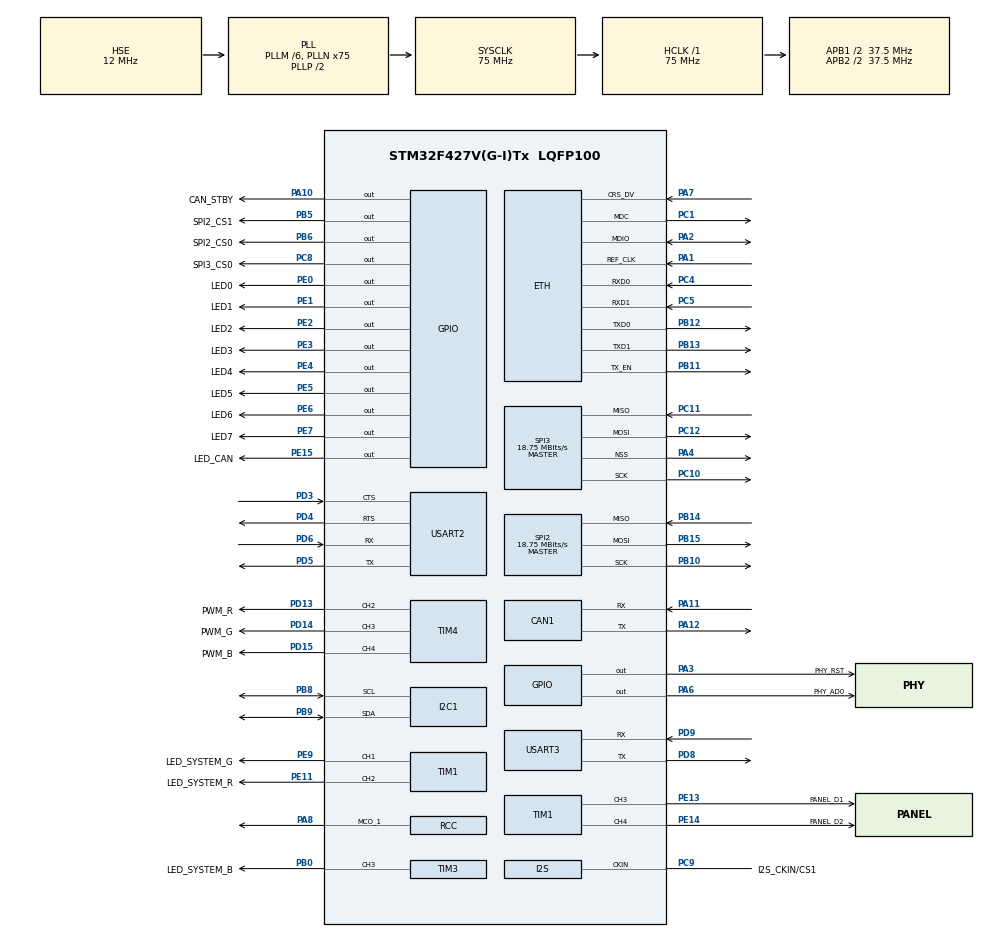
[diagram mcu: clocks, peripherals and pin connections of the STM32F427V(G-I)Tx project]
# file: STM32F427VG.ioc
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CAN1.BS1=CAN_BS1_1TQ
CAN1.BS2=CAN_BS2_1TQ
CAN1.CalculateTimeQuantum=426.6666666666667
ETH.ChecksumMode=ETH_CHECKSUM_BY_SOFTWARE
ETH.MediaInterface=ETH_MEDIA_INTERFACE_RMII
ETH.PhyAddress=0
LWIP.CHECKSUM_BY_HARDWARE=0
LWIP.CHECKSUM_GEN_ICMP=1
LWIP.CHECKSUM_GEN_ICMP6=1
LWIP.CHECKSUM_GEN_IP=1
LWIP.CHECKSUM_GEN_TCP=1
LWIP.CHECKSUM_GEN_UDP=1
LWIP.GATEWAY_ADDRESS=192.168.010.001
LWIP.IP_ADDRESS=192.168.010.239
LWIP.LWIP_CHECKSUM_CTRL_PER_NETIF=1
LWIP.LWIP_DHCP=0
LWIP.LWIP_NETIF_LINK_CALLBACK=1
LWIP.LWIP_NETIF_STATUS_CALLBACK=1
LWIP.NETMASK_ADDRESS=255.255.255.000
LWIP.Version=v2.0.3_Cube
Mcu.Family=STM32F4
Mcu.Name=STM32F427V(G-I)Tx
Mcu.Package=LQFP100
Mcu.UserConstants=PWM_TIMER_RELOAD,10000;PWM_TIMER_PRESCALER,3
NVIC.PriorityGroup=NVIC_PRIORITYGROUP_4
PA1.Mode=RMII
PA1.Signal=ETH_REF_CLK
PA10.GPIO_Label=CAN_STBY
PA10.Signal=GPIO_Output
PA11.Mode=Master
PA11.Signal=CAN1_RX
PA12.Mode=Master
PA12.Signal=CAN1_TX
PA13.Mode=JTAG_5_pins
PA13.Signal=SYS_JTMS-SWDIO
PA14.Mode=JTAG_5_pins
PA14.Signal=SYS_JTCK-SWCLK
PA15.Mode=JTAG_5_pins
PA15.Signal=SYS_JTDI
PA2.Mode=RMII
PA2.Signal=ETH_MDIO
PA3.GPIO_Label=PHY_RST
PA3.GPIO_ModeDefaultOutputPP=GPIO_MODE_OUTPUT_OD
PA3.GPIO_Speed=GPIO_SPEED_FREQ_LOW
PA3.PinState=GPIO_PIN_SET
PA3.Signal=GPIO_Output
PA4.Mode=NSS_Signal_Hard_Output
PA4.Signal=SPI3_NSS
PA6.GPIO_Label=PHY_AD0
PA6.Signal=GPIO_Output
PA7.Mode=RMII
PA7.Signal=ETH_CRS_DV
PA8.GPIO_Speed=GPIO_SPEED_FREQ_HIGH
PA8.Mode=Clock-out-1
PA8.Signal=RCC_MCO_1
PB0.GPIO_Label=LED_SYSTEM_B
PB0.Signal=S_TIM3_CH3
PB10.Mode=Full_Duplex_Master
PB10.Signal=SPI2_SCK
PB11.Mode=RMII
PB11.Signal=ETH_TX_EN
PB12.Mode=RMII
PB12.Signal=ETH_TXD0
PB13.Mode=RMII
PB13.Signal=ETH_TXD1
PB14.Mode=Full_Duplex_Master
PB14.Signal=SPI2_MISO
PB15.Mode=Full_Duplex_Master
PB15.Signal=SPI2_MOSI
PB3.Mode=JTAG_5_pins
PB3.Signal=SYS_JTDO-SWO
PB4.Mode=JTAG_5_pins
PB4.Signal=SYS_JTRST
PB5.GPIO_Label=SPI2_CS1
PB5.GPIO_Speed=GPIO_SPEED_FREQ_HIGH
PB5.PinState=GPIO_PIN_SET
PB5.Signal=GPIO_Output
PB6.GPIO_Label=SPI2_CS0
PB6.GPIO_Speed=GPIO_SPEED_FREQ_HIGH
PB6.PinState=GPIO_PIN_SET
PB6.Signal=GPIO_Output
PB8.Mode=I2C
PB8.Signal=I2C1_SCL
PB9.Mode=I2C
PB9.Signal=I2C1_SDA
PC1.Mode=RMII
PC1.Signal=ETH_MDC
PC10.Mode=Full_Duplex_Master
PC10.Signal=SPI3_SCK
PC11.Mode=Full_Duplex_Master
PC11.Signal=SPI3_MISO
PC12.Mode=Full_Duplex_Master
PC12.Signal=SPI3_MOSI
PC4.Mode=RMII
PC4.Signal=ETH_RXD0
PC5.Mode=RMII
PC5.Signal=ETH_RXD1
PC8.GPIO_Label=SPI3_CS0
PC8.GPIO_Speed=GPIO_SPEED_FREQ_HIGH
PC8.PinState=GPIO_PIN_SET
PC8.Signal=GPIO_Output
PC9.GPIO_Label=I2S_CKIN/CS1
PC9.Mode=Audio_ClockIn
PC9.Signal=I2S_CKIN
PD13.GPIO_Label=PWM_R
PD13.Signal=S_TIM4_CH2
PD14.GPIO_Label=PWM_G
PD14.Signal=S_TIM4_CH3
PD15.GPIO_Label=PWM_B
PD15.Signal=S_TIM4_CH4
PD3.Mode=CTS_RTS
PD3.Signal=USART2_CTS
PD4.Mode=CTS_RTS
PD4.Signal=USART2_RTS
PD5.Mode=Asynchronous
PD5.Signal=USART2_TX
PD6.Mode=Asynchronous
PD6.Signal=USART2_RX
PD8.Mode=Asynchronous
PD8.Signal=USART3_TX
PD9.Mode=Asynchronous
PD9.Signal=USART3_RX
PE0.GPIO_Label=LED0
PE0.Signal=GPIO_Output
PE1.GPIO_Label=LED1
PE1.Signal=GPIO_Output
PE11.GPIO_Label=LED_SYSTEM_R
PE11.Signal=S_TIM1_CH2
PE13.GPIO_Label=PANEL_D1
PE13.Signal=S_TIM1_CH3
PE14.GPIO_Label=PANEL_D2
PE14.Signal=S_TIM1_CH4
PE15.GPIO_Label=LED_CAN
PE15.Signal=GPIO_Output
PE2.GPIO_Label=LED2
PE2.Signal=GPIO_Output
PE3.GPIO_Label=LED3
PE3.Signal=GPIO_Output
PE4.GPIO_Label=LED4
PE4.Signal=GPIO_Output
PE5.GPIO_Label=LED5
PE5.Signal=GPIO_Output
PE6.GPIO_Label=LED6
PE6.Signal=GPIO_Output
PE7.GPIO_Label=LED7
PE7.Signal=GPIO_Output
PE9.GPIO_Label=LED_SYSTEM_G
PE9.Signal=S_TIM1_CH1
PH0/OSC_IN.Mode=HSE-External-Oscillator
PH0/OSC_IN.Signal=RCC_OSC_IN
PH1/OSC_OUT.Mode=HSE-External-Oscillator
PH1/OSC_OUT.Signal=RCC_OSC_OUT
ProjectManager.HeapSize=0x200
ProjectManager.StackSize=0x400
ProjectManager.TargetToolchain=Makefile
RCC.48MHZClocksFreq_Value=37500000
RCC.AHBFreq_Value=75000000
RCC.APB1CLKDivider=RCC_HCLK_DIV2
RCC.APB1Freq_Value=37500000
RCC.APB1TimFreq_Value=75000000
RCC.APB2CLKDivider=RCC_HCLK_DIV2
RCC.APB2Freq_Value=37500000
RCC.APB2TimFreq_Value=75000000
RCC.CortexFreq_Value=75000000
RCC.HCLKFreq_Value=75000000
RCC.HSE_Timout=500
RCC.HSE_VALUE=12000000
RCC.HSI_VALUE=16000000
RCC.LSE_VALUE=32768
RCC.PLLM=6
RCC.PLLN=75
RCC.PLLSourceVirtual=RCC_PLLSOURCE_HSE
RCC.RCC_MCO1Source=RCC_MCO1SOURCE_PLLCLK
RCC.RCC_MCODiv1=RCC_MCODIV_3
RCC.SYSCLKFreq_VALUE=75000000
RCC.SYSCLKSource=RCC_SYSCLKSOURCE_PLLCLK
RCC.VCOOutputFreq_Value=150000000
SH.S_TIM1_CH1.0=TIM1_CH1,PWM Generation1 CH1
SH.S_TIM1_CH2.0=TIM1_CH2,PWM Generation2 CH2
SH.S_TIM1_CH3.0=TIM1_CH3,PWM Generation3 CH3
SH.S_TIM1_CH4.0=TIM1_CH4,PWM Generation4 CH4
SH.S_TIM3_CH3.0=TIM3_CH3,PWM Generation3 CH3
SH.S_TIM4_CH2.0=TIM4_CH2,PWM Generation2 CH2
SH.S_TIM4_CH3.0=TIM4_CH3,PWM Generation3 CH3
SH.S_TIM4_CH4.0=TIM4_CH4,PWM Generation4 CH4
SPI2.BaudRatePrescaler=SPI_BAUDRATEPRESCALER_2
SPI2.CalculateBaudRate=18.75 MBits/s
SPI2.Direction=SPI_DIRECTION_2LINES
SPI2.Mode=SPI_MODE_MASTER
SPI2.VirtualType=VM_MASTER
SPI3.BaudRatePrescaler=SPI_BAUDRATEPRESCALER_2
SPI3.CalculateBaudRate=18.75 MBits/s
SPI3.Direction=SPI_DIRECTION_2LINES
SPI3.Mode=SPI_MODE_MASTER
SPI3.VirtualNSS=VM_NSSHARD
SPI3.VirtualType=VM_MASTER
TIM1.Channel-PWM\ Generation1\ CH1=TIM_CHANNEL_1
TIM1.Channel-PWM\ Generation2\ CH2=TIM_CHANNEL_2
TIM1.Channel-PWM\ Generation3\ CH3=TIM_CHANNEL_3
TIM1.Channel-PWM\ Generation4\ CH4=TIM_CHANNEL_4
TIM1.ClockDivision=TIM_CLOCKDIVISION_DIV4
TIM1.CounterMode=TIM_COUNTERMODE_CENTERALIGNED1
TIM1.OCFastMode_PWM-PWM\ Generation1\ CH1=TIM_OCFAST_ENABLE
TIM1.OCFastMode_PWM-PWM\ Generation2\ CH2=TIM_OCFAST_ENABLE
TIM1.OCFastMode_PWM-PWM\ Generation3\ CH3=TIM_OCFAST_ENABLE
TIM1.OCFastMode_PWM-PWM\ Generation4\ CH4=TIM_OCFAST_ENABLE
TIM1.OCPolarity_4=TIM_OCPOLARITY_LOW
TIM1.Period=PWM_TIMER_RELOAD
TIM1.Prescaler=PWM_TIMER_PRESCALER
TIM3.Channel-PWM\ Generation3\ CH3=TIM_CHANNEL_3
TIM3.CounterMode=TIM_COUNTERMODE_CENTERALIGNED1
TIM3.OCFastMode_PWM-PWM\ Generation3\ CH3=TIM_OCFAST_ENABLE
TIM3.Period=PWM_TIMER_RELOAD
TIM3.Prescaler=PWM_TIMER_PRESCALER
TIM4.Channel-PWM\ Generation2\ CH2=TIM_CHANNEL_2
TIM4.Channel-PWM\ Generation3\ CH3=TIM_CHANNEL_3
TIM4.Channel-PWM\ Generation4\ CH4=TIM_CHANNEL_4
TIM4.CounterMode=TIM_COUNTERMODE_CENTERALIGNED1
TIM4.OCFastMode_PWM-PWM\ Generation2\ CH2=TIM_OCFAST_ENABLE
TIM4.OCFastMode_PWM-PWM\ Generation3\ CH3=TIM_OCFAST_ENABLE
TIM4.OCFastMode_PWM-PWM\ Generation4\ CH4=TIM_OCFAST_ENABLE
TIM4.Period=PWM_TIMER_RELOAD
TIM4.Prescaler=PWM_TIMER_PRESCALER
USART2.VirtualMode=VM_ASYNC
USART3.VirtualMode=VM_ASYNC
VP_LWIP_VS_Enabled.Mode=Enabled
VP_TIM1_VS_ClockSourceINT.Mode=Internal
VP_TIM3_VS_ClockSourceINT.Mode=Internal
VP_TIM4_VS_ClockSourceINT.Mode=Internal
board=custom

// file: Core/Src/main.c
/**
  ******************************************************************************
  * @file           : main.c
  * @brief          : Main program body
  ******************************************************************************
  * This notice applies to any and all portions of this file
  * that are not between comment pairs USER CODE BEGIN and
  * USER CODE END. Other portions of this file, whether
  * inserted by the user or by software development tools
  * are owned by their respective copyright owners.
  *
  * Copyright (c) 2019 STMicroelectronics International N.V.
  * All rights reserved.
  *
  * Redistribution and use in source and binary forms, with or without
  * modification, are permitted, provided that the following conditions are met:
  *
  * 1. Redistribution of source code must retain the above copyright notice,
  *    this list of conditions and the following disclaimer.
  * 2. Redistributions in binary form must reproduce the above copyright notice,
  *    this list of conditions and the following disclaimer in the documentation
  *    and/or other materials provided with the distribution.
  * 3. Neither the name of STMicroelectronics nor the names of other
  *    contributors to this software may be used to endorse or promote products
  *    derived from this software without specific written permission.
  * 4. This software, including modifications and/or derivative works of this
  *    software, must execute solely and exclusively on microcontroller or
  *    microprocessor devices manufactured by or for STMicroelectronics.
  * 5. Redistribution and use of this software other than as permitted under
  *    this license is void and will automatically terminate your rights under
  *    this license.
  *
  * THIS SOFTWARE IS PROVIDED BY STMICROELECTRONICS AND CONTRIBUTORS "AS IS"
  * AND ANY EXPRESS, IMPLIED OR STATUTORY WARRANTIES, INCLUDING, BUT NOT
  * LIMITED TO, THE IMPLIED WARRANTIES OF MERCHANTABILITY, FITNESS FOR A
  * PARTICULAR PURPOSE AND NON-INFRINGEMENT OF THIRD PARTY INTELLECTUAL PROPERTY
  * RIGHTS ARE DISCLAIMED TO THE FULLEST EXTENT PERMITTED BY LAW. IN NO EVENT
  * SHALL STMICROELECTRONICS OR CONTRIBUTORS BE LIABLE FOR ANY DIRECT, INDIRECT,
  * INCIDENTAL, SPECIAL, EXEMPLARY, OR CONSEQUENTIAL DAMAGES (INCLUDING, BUT NOT
  * LIMITED TO, PROCUREMENT OF SUBSTITUTE GOODS OR SERVICES; LOSS OF USE, DATA,
  * OR PROFITS; OR BUSINESS INTERRUPTION) HOWEVER CAUSED AND ON ANY THEORY OF
  * LIABILITY, WHETHER IN CONTRACT, STRICT LIABILITY, OR TORT (INCLUDING
  * NEGLIGENCE OR OTHERWISE) ARISING IN ANY WAY OUT OF THE USE OF THIS SOFTWARE,
  * EVEN IF ADVISED OF THE POSSIBILITY OF SUCH DAMAGE.
  *
  ******************************************************************************
  */
#include "main.h"
#include "stm32f4xx_hal.h"
#include "lwip.h"

/* USER CODE BEGIN Includes */
#include <math.h>
/* USER CODE END Includes */

CAN_HandleTypeDef hcan1;

I2C_HandleTypeDef hi2c1;

SPI_HandleTypeDef hspi2;
SPI_HandleTypeDef hspi3;

TIM_HandleTypeDef htim1;
TIM_HandleTypeDef htim3;
TIM_HandleTypeDef htim4;

UART_HandleTypeDef huart2;
UART_HandleTypeDef huart3;

/* USER CODE BEGIN PV */
/* Private variables ---------------------------------------------------------*/

typedef struct RGB_DUTY_RAW {
	uint16_t r, g, b;
} RGB_DUTY_RAW;

typedef struct PANEL_DUTY_RAW {
	uint16_t p1, p2;
} PANEL_DUTY_RAW;

static volatile RGB_DUTY_RAW syst_led_pwm; // PWM values for the onboard LED (duty cycle rel. to PWM_TIMER_RELOAD)
static volatile RGB_DUTY_RAW ext_led_pwm;  // PWM values for three external LED channels (duty cycle rel. to PWM_TIMER_RELOAD)
static volatile PANEL_DUTY_RAW panel_pwm;  // PWM values for two onboard CC drivers (duty cycle rel. to PWM_TIMER_RELOAD)
/* USER CODE END PV */

void SystemClock_Config(void);
static void MX_GPIO_Init(void);
static void MX_CAN1_Init(void);
static void MX_I2C1_Init(void);
static void MX_SPI2_Init(void);
static void MX_SPI3_Init(void);
static void MX_TIM1_Init(void);
static void MX_TIM3_Init(void);
static void MX_TIM4_Init(void);
static void MX_USART2_UART_Init(void);
static void MX_USART3_UART_Init(void);

void HAL_TIM_MspPostInit(TIM_HandleTypeDef *htim);

/* USER CODE BEGIN PFP */
/* Private function prototypes -----------------------------------------------*/

void update_syst_pwm(void);
void update_ext_pwm(void);
void update_panel_pwm(void);

// --- crusty HSV/RGB stuff ahead.
typedef struct RgbColor {
    unsigned char r;
    unsigned char g;
    unsigned char b;
} RgbColor;

typedef struct HsvColor {
    unsigned char h;
    unsigned char s;
    unsigned char v;
} HsvColor;

RgbColor HsvToRgb(HsvColor hsv) {
    RgbColor rgb;
    unsigned char region, remainder, p, q, t;

    if (hsv.s == 0) {
        rgb.r = hsv.v;
        rgb.g = hsv.v;
        rgb.b = hsv.v;
        return rgb;
    }

    region = hsv.h / 43;
    remainder = (hsv.h - (region * 43)) * 6;

    p = (hsv.v * (255 - hsv.s)) >> 8;
    q = (hsv.v * (255 - ((hsv.s * remainder) >> 8))) >> 8;
    t = (hsv.v * (255 - ((hsv.s * (255 - remainder)) >> 8))) >> 8;

    switch (region) {
        case 0:
            rgb.r = hsv.v; rgb.g = t; rgb.b = p;
            break;
        case 1:
            rgb.r = q; rgb.g = hsv.v; rgb.b = p;
            break;
        case 2:
            rgb.r = p; rgb.g = hsv.v; rgb.b = t;
            break;
        case 3:
            rgb.r = p; rgb.g = q; rgb.b = hsv.v;
            break;
        case 4:
            rgb.r = t; rgb.g = p; rgb.b = hsv.v;
            break;
        default:
            rgb.r = hsv.v; rgb.g = p; rgb.b = q;
            break;
    }

    return rgb;
}

HsvColor RgbToHsv(RgbColor rgb) {
    HsvColor hsv;
    unsigned char rgbMin, rgbMax;

    rgbMin = rgb.r < rgb.g ? (rgb.r < rgb.b ? rgb.r : rgb.b) : (rgb.g < rgb.b ? rgb.g : rgb.b);
    rgbMax = rgb.r > rgb.g ? (rgb.r > rgb.b ? rgb.r : rgb.b) : (rgb.g > rgb.b ? rgb.g : rgb.b);

    hsv.v = rgbMax;
    if (hsv.v == 0) {
        hsv.h = 0;
        hsv.s = 0;
        return hsv;
    }

    hsv.s = 255 * ((long) rgbMax - (long) rgbMin) / hsv.v;
    if (hsv.s == 0) {
        hsv.h = 0;
        return hsv;
    }

    if (rgbMax == rgb.r) {  hsv.h = 0 + 43 * (rgb.g - rgb.b) / (rgbMax - rgbMin); }
    else if (rgbMax == rgb.g) { hsv.h = 85 + 43 * (rgb.b - rgb.r) / (rgbMax - rgbMin); }
    else { hsv.h = 171 + 43 * (rgb.r - rgb.g) / (rgbMax - rgbMin); }

    return hsv;
}

static HsvColor LedHsv;
static RgbColor LedRgb;
// --- end of crusty HSV/RGB stuff

//void HAL_TIM_PeriodElapsedCallback(TIM_HandleTypeDef *htim) {
   /*  if (htim->Instance == TIM5)
    {
        count2++;
    } */

	// The duty cycle value is a percentage of the reload register value (ARR). Rounding is used.
	/* if (pwm0 > 100.0F) { pwm0 = 0.0F; }
	float DC = pwm0;
	pwm0 += 0.5F; */

    //uint32_t newRegVal = (uint32_t) roundf((float)(htim1.Instance->ARR) * (DC * 0.01F));

    //In case of the DC being calculated as higher than the reload register, cap it to the reload register*/
    /* if (newRegVal > htim1.Instance->ARR){
        newRegVal = htim1.Instance->ARR;
    } */

    ///Assign the new DC count to the capture compare register.
     //htim1.Instance->CCR3 = (uint32_t)(roundf(newRegVal));  /*Change CCR1 to appropriate channel, or pass it in with function.*/
//}

/* USER CODE END PFP */

/* USER CODE BEGIN 0 */

inline void update_syst_pwm(void) {
	/* LED_SYSTEM_R, LED_SYSTEM_G, LED_SYSTEM_B:
		the PWM signals for the external three LED channels are mapped to TIM1 and TIM3 channels due to
		peripheral mapping and routing constraints.
		TIM1 and TIM3 output polarities are normal, duty cycle is 100% * TIMn->CCRn / TIMn->ARR.
	*/
	__HAL_TIM_SET_COMPARE(&htim1, TIM_CHANNEL_2, syst_led_pwm.r);
	__HAL_TIM_SET_COMPARE(&htim1, TIM_CHANNEL_1, syst_led_pwm.g);
	// note the B channel is driven by TIM3. It also needs to be configured to use the same counting mode.
	__HAL_TIM_SET_COMPARE(&htim3, TIM_CHANNEL_3, syst_led_pwm.b);
}

inline void update_ext_pwm(void) {
	/* PWM_R, PWM_G, PWM_B:
		the PWM signals for the external three LED channels are mapped to TIM4 channels 2, 3 and 4.
		TIM4 output polarity is normal, duty cycle is 100% * TIM4->CCRn / TIM4->ARR.
	*/
	__HAL_TIM_SET_COMPARE(&htim4, TIM_CHANNEL_2, ext_led_pwm.r);
	__HAL_TIM_SET_COMPARE(&htim4, TIM_CHANNEL_3, ext_led_pwm.g);
	__HAL_TIM_SET_COMPARE(&htim4, TIM_CHANNEL_4, ext_led_pwm.b);
}

inline void update_panel_pwm(void) {
	/* Panel_D1:
		TIM_CHANNEL_3 output polarity is normal, duty cycle is 100% * TIM1->CCR3 / TIM1->ARR.
	*/
	__HAL_TIM_SET_COMPARE(&htim1, TIM_CHANNEL_3, panel_pwm.p1);
	/* Panel_D2:
		TIM_CHANNEL_4 output polarity is inverted (TIM1_OCPOLARITY_LOW) and the duty cycle is made complementary.
		Combined with TIM_OCPOLARITY_LOW, the two channels (CH3 and CH4) produce 180° interleaved PWM
		to minimize primary-side current ripple and audible noise.
	*/
	__HAL_TIM_SET_COMPARE(&htim1, TIM_CHANNEL_4, TIM1->ARR - panel_pwm.p2);
}

// --- MQTT begins here ---
#include <string.h>
#include "mqtt.h"

#define MQTT_HOST_0 10
#define MQTT_HOST_1 214
#define MQTT_HOST_2 227
#define MQTT_HOST_3 218
//#define MQTT_HOST "vielseitigkeit.club.entropia.de"
//#define MQTT_HOST "localhost"
#define MQTT_PORT 1883
#define MQTT_USERNAME "user"
#define MQTT_KEY "pass"

mqtt_client_t static_client;
int16_t RgbToPwm = PWM_TIMER_RELOAD / 360; // Limit the max brightness/current this way.

void mqtt_do_connect(mqtt_client_t *client);

// --- Callbacks ---
//

static int inpub_id;
static void mqtt_incoming_publish_cb(void *arg, const char *topic, u32_t tot_len) {
	printf("Incoming publish at topic %s with total length %u\n", topic, (unsigned int)tot_len);

	/* Decode topic string into a user defined reference */
	if(strcmp(topic, "/plants/rgb") == 0) {
		inpub_id = 0;
	}
	else if (strcmp(topic, "/plants/panels") == 0) {
		inpub_id = 1;
	}
	else {
		/* For all other topics */
		inpub_id = 2;
	}
}

static void mqtt_sub_request_cb(void *arg, err_t result) {
	  /* Just print the result code here for simplicity,
		 normal behaviour would be to take some action if subscribe fails like
		 notifying user, retry subscribe or disconnect from server */
	  printf("Subscribe result: %d\n", result);
}

static void mqtt_request_cb(void *arg, err_t result) {
	//
}

static void mqtt_incoming_data_cb(void *arg, const u8_t *data, u16_t len, u8_t flags) {
	printf("Incoming publish payload with length %d, flags %u\n", len, (unsigned int)flags);
	//mqtt_publish(&static_client, "/plants/debug", "Red adjusted.", 12, 0, 0, mqtt_request_cb, 0);

	if (flags & MQTT_DATA_FLAG_LAST) {
		/* Last fragment of payload received (or whole part if payload fits receive buffer
		See MQTT_VAR_HEADER_BUFFER_LEN)  */

		/* Call function or do action depending on reference, in this case inpub_id */
		if (inpub_id == 0) { // /plants/rgb
		  /* Don't trust the publisher, check zero termination */
			if (data[len-1] == 0) {
				printf("mqtt_incoming_data_cb: %s\n", (const char *) data);
				//mqtt_publish(&static_client, "/plants/debug", "Red adjusted.", 12, 0, 0, mqtt_request_cb, 0);
			}

			if (len == 2) {
				if ((char) data[0] == 'R') {
					ext_led_pwm.r = (char) data[1];
					ext_led_pwm.r *= 3;
					mqtt_publish(&static_client, "/plants/debug", "Red adjusted.", 12, 0, 0, mqtt_request_cb, 0);
				}
				else if ((char) data[0] == 'G') {
					ext_led_pwm.g = (char) data[1];
					ext_led_pwm.g *= 3;
					mqtt_publish(&static_client, "/plants/debug", "Green adjusted.", 14, 0, 0, mqtt_request_cb, 0);
				}
				else if ((char) data[0] == 'B') {
					ext_led_pwm.b = (char) data[1];
					ext_led_pwm.b *= 3;
					mqtt_publish(&static_client, "/plants/debug", "Blue adjusted.", 13, 0, 0, mqtt_request_cb, 0);
				}

				update_ext_pwm();
			}
			else {
				mqtt_publish(&static_client, "/plants/debug", "No valid RGB command.", 21, 0, 0, mqtt_request_cb, 0);
			}
		}
		else if (inpub_id == 1) { // /plants/panels
			if (len == 2) {
				if ((char) data[0] == 'W') {
					panel_pwm.p1 = (char) data[1];
					panel_pwm.p1 *= 3;
				}
				else if ((char) data[0] == 'Y') {
					panel_pwm.p2 = (char) data[1];
					panel_pwm.p2 *= 3;
				}

				update_panel_pwm();
			}
		}
		else {
			printf("mqtt_incoming_data_cb: Ignoring payload...\n");
		}
	}
	else {
		/* Handle fragmented payload, store in buffer, write to file or whatever */
	}
}

static void mqtt_connection_cb(mqtt_client_t *client, void *arg, mqtt_connection_status_t status) {
	err_t err;
	if (status == MQTT_CONNECT_ACCEPTED) {
		printf("mqtt_connection_cb: Successfully connected\n");

		/* Setup callback for incoming publish requests */
		mqtt_set_inpub_callback(client, mqtt_incoming_publish_cb, mqtt_incoming_data_cb, arg);

		/* Subscribe to a topic named "subtopic" with QoS level 1, call mqtt_sub_request_cb with result */
		err = mqtt_subscribe(client, "/plants/rgb", 1, mqtt_sub_request_cb, arg);
		err = mqtt_subscribe(client, "/plants/panels", 1, mqtt_sub_request_cb, arg);

		if (err != ERR_OK) {
			printf("mqtt_subscribe return: %d\n", err);
		}
	}
	else {
		printf("mqtt_connection_cb: Disconnected, reason: %d\n", status);

		/* Its more nice to be connected, so try to reconnect */
		mqtt_do_connect(client);
	}
}
// --- End Callbacks ---

void mqtt_do_connect(mqtt_client_t *client) {
	ip4_addr_t broker_ipaddr;
	struct mqtt_connect_client_info_t ci;
	err_t err;

	/* Setup an empty client info structure */
	memset(&ci, 0, sizeof(ci));

	/* Minimal amount of information required is client identifier, so set it here */
	ci.client_id = "LEDNip-Mark_I";

	IP4_ADDR(&broker_ipaddr, MQTT_HOST_0, MQTT_HOST_1, MQTT_HOST_2, MQTT_HOST_3);

	/* Initiate client and connect to server, if this fails immediately an error code is returned
	 otherwise mqtt_connection_cb will be called with connection result after attempting
	 to establish a connection with the server.
	 For now MQTT version 3.1.1 is always used */
	err = mqtt_client_connect(client, &broker_ipaddr, MQTT_PORT, mqtt_connection_cb, 0, &ci);

	/* For now just print the result code if something goes wrong */
	if(err != ERR_OK) {
		printf("mqtt_connect return %d\n", err);
	}
}

/* USER CODE END 0 */

int main(void) {

  /* MCU Configuration----------------------------------------------------------*/

  /* Reset of all peripherals, Initializes the Flash interface and the Systick. */
  HAL_Init();

  /* Configure the system clock */
  SystemClock_Config();

  /* Initialize all configured peripherals */
  MX_GPIO_Init();
  MX_CAN1_Init();
  MX_I2C1_Init();
  MX_SPI2_Init();
  MX_SPI3_Init();
  MX_TIM1_Init();
  MX_TIM3_Init();
  MX_TIM4_Init();
  MX_USART2_UART_Init();
  MX_USART3_UART_Init();
  MX_LWIP_Init();
  /* USER CODE BEGIN 2 */

  // Start all of the PWM channels.
  if (HAL_TIM_PWM_Start(&htim1, TIM_CHANNEL_1) != HAL_OK)   {
    Error_Handler();
  }

  if (HAL_TIM_PWM_Start(&htim1, TIM_CHANNEL_2) != HAL_OK)   {
    Error_Handler();
  }

  if (HAL_TIM_PWM_Start(&htim1, TIM_CHANNEL_3) != HAL_OK)   {
    Error_Handler();
  }

  if (HAL_TIM_PWM_Start(&htim1, TIM_CHANNEL_4) != HAL_OK)   {
    Error_Handler();
  }

  if (HAL_TIM_PWM_Start(&htim3, TIM_CHANNEL_3) != HAL_OK)   {
    Error_Handler();
  }

  if (HAL_TIM_PWM_Start(&htim4, TIM_CHANNEL_2) != HAL_OK)   {
    Error_Handler();
  }

  if (HAL_TIM_PWM_Start(&htim4, TIM_CHANNEL_3) != HAL_OK)   {
    Error_Handler();
  }

  if (HAL_TIM_PWM_Start(&htim4, TIM_CHANNEL_4) != HAL_OK)   {
    Error_Handler();
  }

  // Start timer for the LED update function.
  //TIM2_Init();

  // Compute the prescaler value to have TIM3 counter clock equal to 10 KHz
  //uwPrescalerValue = (uint32_t) ((SystemCoreClock) / 10000) - 1;

  /* Set TIMx instance */
  //htim2.Instance = TIM2;

  /* Initialize TIM2 peripheral as follows:
       + Period = 10000 - 1
       + Prescaler = ((SystemCoreClock/2)/10000) - 1
       + ClockDivision = 0
       + Counter direction = Up
  */
  //htim2.Init.Period = 10000 - 1;
 /*  htim2.Init.Period = 500; // 62499;
  //htim2.Init.Prescaler = uwPrescalerValue;
  htim2.Init.Prescaler = 40000; //((SystemCoreClock/2)/10000) - 1; // 319;
  htim2.Init.ClockDivision = 0;
  htim2.Init.CounterMode = TIM_COUNTERMODE_UP;
  if(HAL_TIM_Base_Init(&htim2) != HAL_OK) {
    Error_Handler();
  } */

  /*##-2- Start the TIM Base generation in interrupt mode ####################*/
  /* Start Channel1 */
  /* if(HAL_TIM_Base_Start_IT(&htim2) != HAL_OK)
  {
    Error_Handler();
  } */

 	/* int16_t pwm_value = 0;
	int16_t step = 5;

	LedHsv.h = 0;
	LedHsv.s = 0xff;
	LedHsv.v = 0xff;
	int16_t HsvStep = 1;
	int16_t HsvStepDelayCounter = 0;
	int8_t HsvStepLinger = 0; */

	// --- MQTT stuff ---
	mqtt_do_connect(&static_client);

  /* USER CODE END 2 */

  /* Infinite loop */
  while (1) {

  /* USER CODE BEGIN 3 */

		MX_LWIP_Process();

		/*Assign the new DC count to the capture compare register.*/

		/* if (pwm_value <= 0) {
			step =  5;
		}
		if (pwm_value >= PWM_TIMER_RELOAD) {
			step = -5;
		}

		pwm_value += step; */

		// brightness ramp demo
		// __HAL_TIM_SET_COMPARE(&htim1, TIM_CHANNEL_3, pwm_value*pwm_value / PWM_TIMER_RELOAD);
		// __HAL_TIM_SET_COMPARE(&htim1, TIM_CHANNEL_4, pwm_value*pwm_value / PWM_TIMER_RELOAD);

		// colour temperature modulation demo
		//__HAL_TIM_SET_COMPARE(&htim1, TIM_CHANNEL_3, pwm_value);
		//__HAL_TIM_SET_COMPARE(&htim1, TIM_CHANNEL_4, PWM_TIMER_RELOAD - (PWM_TIMER_RELOAD - pwm_value)); // CH4 output polarity is inverted in software so it needs the complementary duty cycle value
		/* panel_pwm.p1 = pwm_value;
		panel_pwm.p2 = PWM_TIMER_RELOAD - pwm_value;
		update_panel_pwm(); */

		// Demo: cycle through the RGB colours by mapping from the HSV colour space.
		/* if (HsvStepDelayCounter >= 10) {
			if (LedHsv.h >= 0xff && HsvStepLinger == 0) { HsvStep = -1; HsvStepLinger = 2; }
			else if (LedHsv.h <= 0x00 && HsvStepLinger == 0) { HsvStep = 1; HsvStepLinger = 2; }
			else if (HsvStepLinger == 2) { HsvStepLinger = 1; }
			else {
				LedHsv.h += HsvStep;

				LedRgb = HsvToRgb(LedHsv);
				ext_led_pwm.r = LedRgb.r * RgbToPwm;
				ext_led_pwm.g = LedRgb.g * RgbToPwm;
				ext_led_pwm.b = LedRgb.b * RgbToPwm;
				update_ext_pwm();

				HsvStepLinger = 0;
			}

			HsvStepDelayCounter = 0;
		}
		else {
			HsvStepDelayCounter++;
		} */

		HAL_Delay(1);

		//HAL_GPIO_TogglePin(GPIOE, LED1_Pin);
	}

	mqtt_disconnect(&static_client);
  /* USER CODE END 3 */

}

void SystemClock_Config(void)
{

  RCC_OscInitTypeDef RCC_OscInitStruct;
  RCC_ClkInitTypeDef RCC_ClkInitStruct;

    /**Configure the main internal regulator output voltage
    */
  __HAL_RCC_PWR_CLK_ENABLE();

  __HAL_PWR_VOLTAGESCALING_CONFIG(PWR_REGULATOR_VOLTAGE_SCALE3);

    /**Initializes the CPU, AHB and APB busses clocks
    */
  RCC_OscInitStruct.OscillatorType = RCC_OSCILLATORTYPE_HSE;
  RCC_OscInitStruct.HSEState = RCC_HSE_ON;
  RCC_OscInitStruct.PLL.PLLState = RCC_PLL_ON;
  RCC_OscInitStruct.PLL.PLLSource = RCC_PLLSOURCE_HSE;
  RCC_OscInitStruct.PLL.PLLM = 6;
  RCC_OscInitStruct.PLL.PLLN = 75;
  RCC_OscInitStruct.PLL.PLLP = RCC_PLLP_DIV2;
  RCC_OscInitStruct.PLL.PLLQ = 4;
  if (HAL_RCC_OscConfig(&RCC_OscInitStruct) != HAL_OK)
  {
    _Error_Handler(__FILE__, __LINE__);
  }

    /**Initializes the CPU, AHB and APB busses clocks
    */
  RCC_ClkInitStruct.ClockType = RCC_CLOCKTYPE_HCLK|RCC_CLOCKTYPE_SYSCLK
                              |RCC_CLOCKTYPE_PCLK1|RCC_CLOCKTYPE_PCLK2;
  RCC_ClkInitStruct.SYSCLKSource = RCC_SYSCLKSOURCE_PLLCLK;
  RCC_ClkInitStruct.AHBCLKDivider = RCC_SYSCLK_DIV1;
  RCC_ClkInitStruct.APB1CLKDivider = RCC_HCLK_DIV2;
  RCC_ClkInitStruct.APB2CLKDivider = RCC_HCLK_DIV2;

  if (HAL_RCC_ClockConfig(&RCC_ClkInitStruct, FLASH_LATENCY_2) != HAL_OK)
  {
    _Error_Handler(__FILE__, __LINE__);
  }

  HAL_RCC_MCOConfig(RCC_MCO1, RCC_MCO1SOURCE_PLLCLK, RCC_MCODIV_3);

    /**Configure the Systick interrupt time
    */
  HAL_SYSTICK_Config(HAL_RCC_GetHCLKFreq()/1000);

    /**Configure the Systick
    */
  HAL_SYSTICK_CLKSourceConfig(SYSTICK_CLKSOURCE_HCLK);

  /* SysTick_IRQn interrupt configuration */
  HAL_NVIC_SetPriority(SysTick_IRQn, 0, 0);
}

/* CAN1 init function */
static void MX_CAN1_Init(void)
{

  hcan1.Instance = CAN1;
  hcan1.Init.Prescaler = 16;
  hcan1.Init.Mode = CAN_MODE_NORMAL;
  hcan1.Init.SyncJumpWidth = CAN_SJW_1TQ;
  hcan1.Init.TimeSeg1 = CAN_BS1_1TQ;
  hcan1.Init.TimeSeg2 = CAN_BS2_1TQ;
  hcan1.Init.TimeTriggeredMode = DISABLE;
  hcan1.Init.AutoBusOff = DISABLE;
  hcan1.Init.AutoWakeUp = DISABLE;
  hcan1.Init.AutoRetransmission = DISABLE;
  hcan1.Init.ReceiveFifoLocked = DISABLE;
  hcan1.Init.TransmitFifoPriority = DISABLE;
  if (HAL_CAN_Init(&hcan1) != HAL_OK)
  {
    _Error_Handler(__FILE__, __LINE__);
  }

}

/* I2C1 init function */
static void MX_I2C1_Init(void)
{

  hi2c1.Instance = I2C1;
  hi2c1.Init.ClockSpeed = 100000;
  hi2c1.Init.DutyCycle = I2C_DUTYCYCLE_2;
  hi2c1.Init.OwnAddress1 = 0;
  hi2c1.Init.AddressingMode = I2C_ADDRESSINGMODE_7BIT;
  hi2c1.Init.DualAddressMode = I2C_DUALADDRESS_DISABLE;
  hi2c1.Init.OwnAddress2 = 0;
  hi2c1.Init.GeneralCallMode = I2C_GENERALCALL_DISABLE;
  hi2c1.Init.NoStretchMode = I2C_NOSTRETCH_DISABLE;
  if (HAL_I2C_Init(&hi2c1) != HAL_OK)
  {
    _Error_Handler(__FILE__, __LINE__);
  }

}

/* SPI2 init function */
static void MX_SPI2_Init(void)
{

  /* SPI2 parameter configuration*/
  hspi2.Instance = SPI2;
  hspi2.Init.Mode = SPI_MODE_MASTER;
  hspi2.Init.Direction = SPI_DIRECTION_2LINES;
  hspi2.Init.DataSize = SPI_DATASIZE_8BIT;
  hspi2.Init.CLKPolarity = SPI_POLARITY_LOW;
  hspi2.Init.CLKPhase = SPI_PHASE_1EDGE;
  hspi2.Init.NSS = SPI_NSS_SOFT;
  hspi2.Init.BaudRatePrescaler = SPI_BAUDRATEPRESCALER_2;
  hspi2.Init.FirstBit = SPI_FIRSTBIT_MSB;
  hspi2.Init.TIMode = SPI_TIMODE_DISABLE;
  hspi2.Init.CRCCalculation = SPI_CRCCALCULATION_DISABLE;
  hspi2.Init.CRCPolynomial = 10;
  if (HAL_SPI_Init(&hspi2) != HAL_OK)
  {
    _Error_Handler(__FILE__, __LINE__);
  }

}

/* SPI3 init function */
static void MX_SPI3_Init(void)
{

  /* SPI3 parameter configuration*/
  hspi3.Instance = SPI3;
  hspi3.Init.Mode = SPI_MODE_MASTER;
  hspi3.Init.Direction = SPI_DIRECTION_2LINES;
  hspi3.Init.DataSize = SPI_DATASIZE_8BIT;
  hspi3.Init.CLKPolarity = SPI_POLARITY_LOW;
  hspi3.Init.CLKPhase = SPI_PHASE_1EDGE;
  hspi3.Init.NSS = SPI_NSS_HARD_OUTPUT;
  hspi3.Init.BaudRatePrescaler = SPI_BAUDRATEPRESCALER_2;
  hspi3.Init.FirstBit = SPI_FIRSTBIT_MSB;
  hspi3.Init.TIMode = SPI_TIMODE_DISABLE;
  hspi3.Init.CRCCalculation = SPI_CRCCALCULATION_DISABLE;
  hspi3.Init.CRCPolynomial = 10;
  if (HAL_SPI_Init(&hspi3) != HAL_OK)
  {
    _Error_Handler(__FILE__, __LINE__);
  }

}

/* TIM1 init function */
static void MX_TIM1_Init(void)
{

  TIM_ClockConfigTypeDef sClockSourceConfig;
  TIM_MasterConfigTypeDef sMasterConfig;
  TIM_OC_InitTypeDef sConfigOC;
  TIM_BreakDeadTimeConfigTypeDef sBreakDeadTimeConfig;

  htim1.Instance = TIM1;
  htim1.Init.Prescaler = PWM_TIMER_PRESCALER;
  htim1.Init.CounterMode = TIM_COUNTERMODE_CENTERALIGNED1;
  htim1.Init.Period = PWM_TIMER_RELOAD;
  htim1.Init.ClockDivision = TIM_CLOCKDIVISION_DIV4;
  htim1.Init.RepetitionCounter = 0;
  if (HAL_TIM_Base_Init(&htim1) != HAL_OK)
  {
    _Error_Handler(__FILE__, __LINE__);
  }

  sClockSourceConfig.ClockSource = TIM_CLOCKSOURCE_INTERNAL;
  if (HAL_TIM_ConfigClockSource(&htim1, &sClockSourceConfig) != HAL_OK)
  {
    _Error_Handler(__FILE__, __LINE__);
  }

  if (HAL_TIM_PWM_Init(&htim1) != HAL_OK)
  {
    _Error_Handler(__FILE__, __LINE__);
  }

  sMasterConfig.MasterOutputTrigger = TIM_TRGO_RESET;
  sMasterConfig.MasterSlaveMode = TIM_MASTERSLAVEMODE_DISABLE;
  if (HAL_TIMEx_MasterConfigSynchronization(&htim1, &sMasterConfig) != HAL_OK)
  {
    _Error_Handler(__FILE__, __LINE__);
  }

  sConfigOC.OCMode = TIM_OCMODE_PWM1;
  sConfigOC.Pulse = 0;
  sConfigOC.OCPolarity = TIM_OCPOLARITY_HIGH;
  sConfigOC.OCNPolarity = TIM_OCNPOLARITY_HIGH;
  sConfigOC.OCFastMode = TIM_OCFAST_ENABLE;
  sConfigOC.OCIdleState = TIM_OCIDLESTATE_RESET;
  sConfigOC.OCNIdleState = TIM_OCNIDLESTATE_RESET;
  if (HAL_TIM_PWM_ConfigChannel(&htim1, &sConfigOC, TIM_CHANNEL_1) != HAL_OK)
  {
    _Error_Handler(__FILE__, __LINE__);
  }

  if (HAL_TIM_PWM_ConfigChannel(&htim1, &sConfigOC, TIM_CHANNEL_2) != HAL_OK)
  {
    _Error_Handler(__FILE__, __LINE__);
  }

  if (HAL_TIM_PWM_ConfigChannel(&htim1, &sConfigOC, TIM_CHANNEL_3) != HAL_OK)
  {
    _Error_Handler(__FILE__, __LINE__);
  }

  sConfigOC.OCPolarity = TIM_OCPOLARITY_LOW;
  if (HAL_TIM_PWM_ConfigChannel(&htim1, &sConfigOC, TIM_CHANNEL_4) != HAL_OK)
  {
    _Error_Handler(__FILE__, __LINE__);
  }

  sBreakDeadTimeConfig.OffStateRunMode = TIM_OSSR_DISABLE;
  sBreakDeadTimeConfig.OffStateIDLEMode = TIM_OSSI_DISABLE;
  sBreakDeadTimeConfig.LockLevel = TIM_LOCKLEVEL_OFF;
  sBreakDeadTimeConfig.DeadTime = 0;
  sBreakDeadTimeConfig.BreakState = TIM_BREAK_DISABLE;
  sBreakDeadTimeConfig.BreakPolarity = TIM_BREAKPOLARITY_HIGH;
  sBreakDeadTimeConfig.AutomaticOutput = TIM_AUTOMATICOUTPUT_DISABLE;
  if (HAL_TIMEx_ConfigBreakDeadTime(&htim1, &sBreakDeadTimeConfig) != HAL_OK)
  {
    _Error_Handler(__FILE__, __LINE__);
  }

  HAL_TIM_MspPostInit(&htim1);

}

/* TIM3 init function */
static void MX_TIM3_Init(void)
{

  TIM_ClockConfigTypeDef sClockSourceConfig;
  TIM_MasterConfigTypeDef sMasterConfig;
  TIM_OC_InitTypeDef sConfigOC;

  htim3.Instance = TIM3;
  htim3.Init.Prescaler = PWM_TIMER_PRESCALER;
  htim3.Init.CounterMode = TIM_COUNTERMODE_CENTERALIGNED1;
  htim3.Init.Period = PWM_TIMER_RELOAD;
  htim3.Init.ClockDivision = TIM_CLOCKDIVISION_DIV1;
  if (HAL_TIM_Base_Init(&htim3) != HAL_OK)
  {
    _Error_Handler(__FILE__, __LINE__);
  }

  sClockSourceConfig.ClockSource = TIM_CLOCKSOURCE_INTERNAL;
  if (HAL_TIM_ConfigClockSource(&htim3, &sClockSourceConfig) != HAL_OK)
  {
    _Error_Handler(__FILE__, __LINE__);
  }

  if (HAL_TIM_PWM_Init(&htim3) != HAL_OK)
  {
    _Error_Handler(__FILE__, __LINE__);
  }

  sMasterConfig.MasterOutputTrigger = TIM_TRGO_RESET;
  sMasterConfig.MasterSlaveMode = TIM_MASTERSLAVEMODE_DISABLE;
  if (HAL_TIMEx_MasterConfigSynchronization(&htim3, &sMasterConfig) != HAL_OK)
  {
    _Error_Handler(__FILE__, __LINE__);
  }

  sConfigOC.OCMode = TIM_OCMODE_PWM1;
  sConfigOC.Pulse = 0;
  sConfigOC.OCPolarity = TIM_OCPOLARITY_HIGH;
  sConfigOC.OCFastMode = TIM_OCFAST_ENABLE;
  if (HAL_TIM_PWM_ConfigChannel(&htim3, &sConfigOC, TIM_CHANNEL_3) != HAL_OK)
  {
    _Error_Handler(__FILE__, __LINE__);
  }

  HAL_TIM_MspPostInit(&htim3);

}

/* TIM4 init function */
static void MX_TIM4_Init(void)
{

  TIM_ClockConfigTypeDef sClockSourceConfig;
  TIM_MasterConfigTypeDef sMasterConfig;
  TIM_OC_InitTypeDef sConfigOC;

  htim4.Instance = TIM4;
  htim4.Init.Prescaler = PWM_TIMER_PRESCALER;
  htim4.Init.CounterMode = TIM_COUNTERMODE_CENTERALIGNED1;
  htim4.Init.Period = PWM_TIMER_RELOAD;
  htim4.Init.ClockDivision = TIM_CLOCKDIVISION_DIV1;
  if (HAL_TIM_Base_Init(&htim4) != HAL_OK)
  {
    _Error_Handler(__FILE__, __LINE__);
  }

  sClockSourceConfig.ClockSource = TIM_CLOCKSOURCE_INTERNAL;
  if (HAL_TIM_ConfigClockSource(&htim4, &sClockSourceConfig) != HAL_OK)
  {
    _Error_Handler(__FILE__, __LINE__);
  }

  if (HAL_TIM_PWM_Init(&htim4) != HAL_OK)
  {
    _Error_Handler(__FILE__, __LINE__);
  }

  sMasterConfig.MasterOutputTrigger = TIM_TRGO_RESET;
  sMasterConfig.MasterSlaveMode = TIM_MASTERSLAVEMODE_DISABLE;
  if (HAL_TIMEx_MasterConfigSynchronization(&htim4, &sMasterConfig) != HAL_OK)
  {
    _Error_Handler(__FILE__, __LINE__);
  }

  sConfigOC.OCMode = TIM_OCMODE_PWM1;
  sConfigOC.Pulse = 0;
  sConfigOC.OCPolarity = TIM_OCPOLARITY_HIGH;
  sConfigOC.OCFastMode = TIM_OCFAST_ENABLE;
  if (HAL_TIM_PWM_ConfigChannel(&htim4, &sConfigOC, TIM_CHANNEL_2) != HAL_OK)
  {
    _Error_Handler(__FILE__, __LINE__);
  }

  if (HAL_TIM_PWM_ConfigChannel(&htim4, &sConfigOC, TIM_CHANNEL_3) != HAL_OK)
  {
    _Error_Handler(__FILE__, __LINE__);
  }

  if (HAL_TIM_PWM_ConfigChannel(&htim4, &sConfigOC, TIM_CHANNEL_4) != HAL_OK)
  {
    _Error_Handler(__FILE__, __LINE__);
  }

  HAL_TIM_MspPostInit(&htim4);

}

/* USART2 init function */
static void MX_USART2_UART_Init(void)
{

  huart2.Instance = USART2;
  huart2.Init.BaudRate = 115200;
  huart2.Init.WordLength = UART_WORDLENGTH_8B;
  huart2.Init.StopBits = UART_STOPBITS_1;
  huart2.Init.Parity = UART_PARITY_NONE;
  huart2.Init.Mode = UART_MODE_TX_RX;
  huart2.Init.HwFlowCtl = UART_HWCONTROL_RTS_CTS;
  huart2.Init.OverSampling = UART_OVERSAMPLING_16;
  if (HAL_UART_Init(&huart2) != HAL_OK)
  {
    _Error_Handler(__FILE__, __LINE__);
  }

}

/* USART3 init function */
static void MX_USART3_UART_Init(void)
{

  huart3.Instance = USART3;
  huart3.Init.BaudRate = 115200;
  huart3.Init.WordLength = UART_WORDLENGTH_8B;
  huart3.Init.StopBits = UART_STOPBITS_1;
  huart3.Init.Parity = UART_PARITY_NONE;
  huart3.Init.Mode = UART_MODE_TX_RX;
  huart3.Init.HwFlowCtl = UART_HWCONTROL_NONE;
  huart3.Init.OverSampling = UART_OVERSAMPLING_16;
  if (HAL_UART_Init(&huart3) != HAL_OK)
  {
    _Error_Handler(__FILE__, __LINE__);
  }

}

/** Configure pins as
        * Analog
        * Input
        * Output
        * EVENT_OUT
        * EXTI
     PC9   ------> I2S_CKIN
     PA8   ------> RCC_MCO_1
*/
static void MX_GPIO_Init(void)
{

  GPIO_InitTypeDef GPIO_InitStruct;

  /* GPIO Ports Clock Enable */
  __HAL_RCC_GPIOE_CLK_ENABLE();
  __HAL_RCC_GPIOH_CLK_ENABLE();
  __HAL_RCC_GPIOC_CLK_ENABLE();
  __HAL_RCC_GPIOA_CLK_ENABLE();
  __HAL_RCC_GPIOB_CLK_ENABLE();
  __HAL_RCC_GPIOD_CLK_ENABLE();

  /*Configure GPIO pin Output Level */
  HAL_GPIO_WritePin(GPIOE, LED2_Pin|LED3_Pin|LED4_Pin|LED5_Pin
                          |LED6_Pin|LED7_Pin|LED_CAN_Pin|LED0_Pin
                          |LED1_Pin, GPIO_PIN_RESET);

  /*Configure GPIO pin Output Level */
  HAL_GPIO_WritePin(PHY_RST_GPIO_Port, PHY_RST_Pin, GPIO_PIN_SET);

  /*Configure GPIO pin Output Level */
  HAL_GPIO_WritePin(GPIOA, PHY_AD0_Pin|CAN_STBY_Pin, GPIO_PIN_RESET);

  /*Configure GPIO pin Output Level */
  HAL_GPIO_WritePin(SPI3_CS0_GPIO_Port, SPI3_CS0_Pin, GPIO_PIN_SET);

  /*Configure GPIO pin Output Level */
  HAL_GPIO_WritePin(GPIOB, SPI2_CS1_Pin|SPI2_CS0_Pin, GPIO_PIN_SET);

  /*Configure GPIO pins : LED2_Pin LED3_Pin LED4_Pin LED5_Pin
                           LED6_Pin LED7_Pin LED_CAN_Pin LED0_Pin
                           LED1_Pin */
  GPIO_InitStruct.Pin = LED2_Pin|LED3_Pin|LED4_Pin|LED5_Pin
                          |LED6_Pin|LED7_Pin|LED_CAN_Pin|LED0_Pin
                          |LED1_Pin;
  GPIO_InitStruct.Mode = GPIO_MODE_OUTPUT_PP;
  GPIO_InitStruct.Pull = GPIO_NOPULL;
  GPIO_InitStruct.Speed = GPIO_SPEED_FREQ_LOW;
  HAL_GPIO_Init(GPIOE, &GPIO_InitStruct);

  /*Configure GPIO pin : PHY_RST_Pin */
  GPIO_InitStruct.Pin = PHY_RST_Pin;
  GPIO_InitStruct.Mode = GPIO_MODE_OUTPUT_OD;
  GPIO_InitStruct.Pull = GPIO_NOPULL;
  GPIO_InitStruct.Speed = GPIO_SPEED_FREQ_LOW;
  HAL_GPIO_Init(PHY_RST_GPIO_Port, &GPIO_InitStruct);

  /*Configure GPIO pins : PHY_AD0_Pin CAN_STBY_Pin */
  GPIO_InitStruct.Pin = PHY_AD0_Pin|CAN_STBY_Pin;
  GPIO_InitStruct.Mode = GPIO_MODE_OUTPUT_PP;
  GPIO_InitStruct.Pull = GPIO_NOPULL;
  GPIO_InitStruct.Speed = GPIO_SPEED_FREQ_LOW;
  HAL_GPIO_Init(GPIOA, &GPIO_InitStruct);

  /*Configure GPIO pin : SPI3_CS0_Pin */
  GPIO_InitStruct.Pin = SPI3_CS0_Pin;
  GPIO_InitStruct.Mode = GPIO_MODE_OUTPUT_PP;
  GPIO_InitStruct.Pull = GPIO_NOPULL;
  GPIO_InitStruct.Speed = GPIO_SPEED_FREQ_HIGH;
  HAL_GPIO_Init(SPI3_CS0_GPIO_Port, &GPIO_InitStruct);

  /*Configure GPIO pin : I2S_CKIN_CS1_Pin */
  GPIO_InitStruct.Pin = I2S_CKIN_CS1_Pin;
  GPIO_InitStruct.Mode = GPIO_MODE_AF_PP;
  GPIO_InitStruct.Pull = GPIO_NOPULL;
  GPIO_InitStruct.Speed = GPIO_SPEED_FREQ_LOW;
  GPIO_InitStruct.Alternate = GPIO_AF5_SPI1;
  HAL_GPIO_Init(I2S_CKIN_CS1_GPIO_Port, &GPIO_InitStruct);

  /*Configure GPIO pin : PA8 */
  GPIO_InitStruct.Pin = GPIO_PIN_8;
  GPIO_InitStruct.Mode = GPIO_MODE_AF_PP;
  GPIO_InitStruct.Pull = GPIO_NOPULL;
  GPIO_InitStruct.Speed = GPIO_SPEED_FREQ_HIGH;
  GPIO_InitStruct.Alternate = GPIO_AF0_MCO;
  HAL_GPIO_Init(GPIOA, &GPIO_InitStruct);

  /*Configure GPIO pins : SPI2_CS1_Pin SPI2_CS0_Pin */
  GPIO_InitStruct.Pin = SPI2_CS1_Pin|SPI2_CS0_Pin;
  GPIO_InitStruct.Mode = GPIO_MODE_OUTPUT_PP;
  GPIO_InitStruct.Pull = GPIO_NOPULL;
  GPIO_InitStruct.Speed = GPIO_SPEED_FREQ_HIGH;
  HAL_GPIO_Init(GPIOB, &GPIO_InitStruct);

}

void _Error_Handler(char *file, int line)
{
  while(1)
  {
  }
}

/************************ (C) COPYRIGHT STMicroelectronics *****END OF FILE****/
